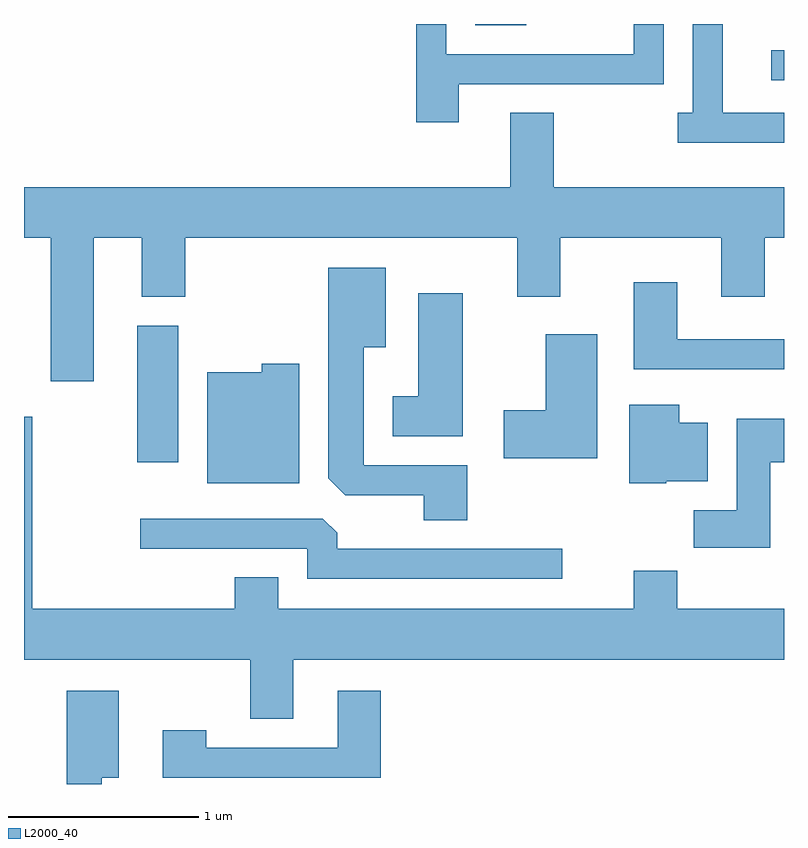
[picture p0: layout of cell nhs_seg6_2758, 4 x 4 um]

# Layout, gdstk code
import gdstk
lib = gdstk.Library(unit=1e-6, precision=1e-09)
def R(c, l, rs):  # rectangles x0, y0, x1, y1
    for r in rs: c.add(gdstk.rectangle(r[:2], r[2:], *l))
def P(c, l, *ps):  # polygons
    for p in ps: c.add(gdstk.Polygon(p, *l))
L2000_40 = (2000, 40)

nhs_seg6_2758 = lib.new_cell('nhs_seg6_2758')
R(nhs_seg6_2758, L2000_40, [(268.206,1659.856,268.424,1660.574), (271.543,1661.866,271.611,1662.024), (269.986,1662.156,270.254,1662.162)])
P(nhs_seg6_2758, L2000_40, [(271.611,1661.694),(271.289,1661.694),(271.289,1662.162),(271.131,1662.162),(271.131,1661.694),(271.053,1661.694),(271.053,1661.536),(271.611,1661.536)],
  [(269.899,1661.846),(270.979,1661.846),(270.979,1662.162),(270.821,1662.162),(270.821,1662.004),(269.834,1662.004),(269.834,1662.162),(269.676,1662.162),(269.676,1661.646),(269.899,1661.646)],
  [(267.979,1661.036),(268.231,1661.036),(268.231,1660.726),(268.459,1660.726),(268.459,1661.036),(270.206,1661.036),(270.206,1660.726),(270.434,1660.726),(270.434,1661.036),(271.281,1661.036),(271.281,1660.726),(271.509,1660.726),(271.509,1661.036),(271.611,1661.036),(271.611,1661.304),(270.399,1661.304),(270.399,1661.694),(270.171,1661.694),(270.171,1661.304),(267.611,1661.304),(267.611,1661.036),(267.751,1661.036),(267.751,1660.281),(267.979,1660.281)],
  [(269.944,1659.839),(269.399,1659.839),(269.399,1660.461),(269.514,1660.461),(269.514,1660.879),(269.211,1660.879),(269.211,1659.772),(269.302,1659.681),(269.716,1659.681),(269.716,1659.551),(269.944,1659.551)],
  [(271.611,1660.504),(271.049,1660.504),(271.049,1660.804),(270.821,1660.804),(270.821,1660.346),(271.611,1660.346)],
  [(269.919,1660.744),(269.686,1660.744),(269.686,1660.204),(269.551,1660.204),(269.551,1659.991),(269.919,1659.991)],
  [(270.629,1660.529),(270.356,1660.529),(270.356,1660.129),(270.136,1660.129),(270.136,1659.876),(270.629,1659.876)],
  [(269.059,1660.374),(268.861,1660.374),(268.861,1660.329),(268.576,1660.329),(268.576,1659.746),(269.059,1659.746)],
  [(270.99,1659.756),(271.209,1659.756),(271.209,1660.064),(271.059,1660.064),(271.059,1660.159),(270.796,1660.159),(270.796,1659.746),(270.99,1659.746)],
  [(269.029,1658.816),(271.611,1658.816),(271.611,1659.084),(271.049,1659.084),(271.049,1659.284),(270.821,1659.284),(270.821,1659.084),(268.949,1659.084),(268.949,1659.249),(268.721,1659.249),(268.721,1659.084),(267.654,1659.084),(267.654,1660.094),(267.611,1660.094),(267.611,1658.816),(268.801,1658.816),(268.801,1658.506),(269.029,1658.506)],
  [(271.539,1659.856),(271.611,1659.856),(271.611,1660.084),(271.361,1660.084),(271.361,1659.604),(271.136,1659.604),(271.136,1659.406),(271.539,1659.406)],
  [(270.443,1659.399),(269.259,1659.399),(269.259,1659.484),(269.184,1659.559),(268.223,1659.559),(268.223,1659.401),(269.101,1659.401),(269.101,1659.241),(270.443,1659.241)],
  [(269.489,1658.654),(269.261,1658.654),(269.261,1658.354),(268.569,1658.354),(268.569,1658.444),(268.341,1658.444),(268.341,1658.196),(269.489,1658.196)],
  [(268.019,1658.196),(268.109,1658.196),(268.109,1658.654),(267.836,1658.654),(267.836,1658.162),(268.019,1658.162)])

lib.write_gds('nhs_seg6_2758.gds')
